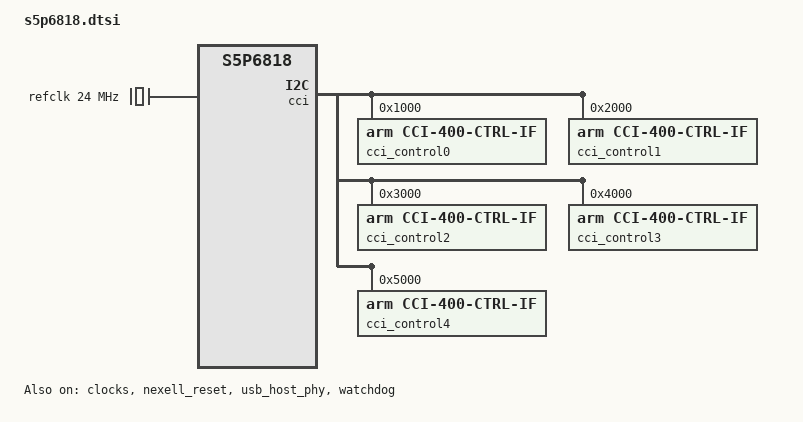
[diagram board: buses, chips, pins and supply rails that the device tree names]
// SPDX-License-Identifier: GPL-2.0-only

#include <dt-bindings/interrupt-controller/arm-gic.h>
#include <dt-bindings/interrupt-controller/irq.h>
#include <dt-bindings/gpio/gpio.h>
#include <dt-bindings/clock/nexell,s5p6818-clock.h>
#include <dt-bindings/reset/nexell,s5p6818-reset.h>

/ {
	#address-cells = <2>;
	#size-cells = <2>;
	compatible = "nexell,s5p6818";

	refclk: oscillator {
		compatible = "fixed-clock";
		#clock-cells = <0>;
		clock-frequency = <24000000>;
		clock-output-names = "xin";
	};

	cpus {
		#address-cells = <2>;
		#size-cells = <0>;

		cpu0: cpu@0 {
			compatible = "arm,cortex-a53";
			device_type = "cpu";
			reg = <0x0 0x0>;
			enable-method = "psci";
			cci-control-port = <&cci_control4>;
		};

		cpu1: cpu@1 {
			compatible = "arm,cortex-a53";
			device_type = "cpu";
			reg = <0x0 0x1>;
			cci-control-port = <&cci_control4>;
			enable-method = "psci";
		};

		cpu2: cpu@2 {
			compatible = "arm,cortex-a53";
			device_type = "cpu";
			reg = <0x0 0x2>;
			cci-control-port = <&cci_control4>;
			enable-method = "psci";
		};

		cpu3: cpu@3 {
			compatible = "arm,cortex-a53";
			device_type = "cpu";
			reg = <0x0 0x3>;
			cci-control-port = <&cci_control4>;
			enable-method = "psci";
		};

		cpu4: cpu@100 {
			compatible = "arm,cortex-a53";
			device_type = "cpu";
			reg = <0x0 0x100>;
			cci-control-port = <&cci_control3>;
			enable-method = "psci";
		};

		cpu5: cpu@101 {
			compatible = "arm,cortex-a53";
			device_type = "cpu";
			reg = <0x0 0x101>;
			cci-control-port = <&cci_control3>;
			enable-method = "psci";
		};

		cpu6: cpu@102 {
			compatible = "arm,cortex-a53";
			device_type = "cpu";
			reg = <0x0 0x102>;
			cci-control-port = <&cci_control3>;
			enable-method = "psci";
		};

		cpu7: cpu@103 {
			compatible = "arm,cortex-a53";
			device_type = "cpu";
			reg = <0x0 0x103>;
			cci-control-port = <&cci_control3>;
			enable-method = "psci";
		};
	};

	psci {
		compatible = "arm,psci-0.2";
		method = "smc";
	};

	arch_timer: timer {
		compatible = "arm,armv8-timer";
		interrupt-parent = <&gic>;
		interrupts = <GIC_PPI 13 (GIC_CPU_MASK_SIMPLE(8) | IRQ_TYPE_LEVEL_LOW)>,
			     <GIC_PPI 14 (GIC_CPU_MASK_SIMPLE(8) | IRQ_TYPE_LEVEL_LOW)>,
			     <GIC_PPI 11 (GIC_CPU_MASK_SIMPLE(8) | IRQ_TYPE_LEVEL_LOW)>,
			     <GIC_PPI 10 (GIC_CPU_MASK_SIMPLE(8) | IRQ_TYPE_LEVEL_LOW)>;
	};

	gic: interrupt-controller@c0009000 {
		compatible = "arm,gic-400";
		interrupt-controller;
		#interrupt-cells = <3>;
		reg = <0x0 0xc0009000 0x0 0x1000>,
		      <0x0 0xc000a000 0x0 0x1000>;
	};

	cci: cci@e0090000 {
		compatible = "arm,cci-400";
		#address-cells = <1>;
		#size-cells = <1>;
		reg = <0x0 0xe0090000 0x0 0x6000>;
		ranges = <0x0 0x0 0xe0090000 0x6000>;

		cci_control0: slave-if@1000 {
			compatible = "arm,cci-400-ctrl-if";
			interface-type = "ace-lite";
			reg = <0x1000 0x1000>;
		};
		cci_control1: slave-if@2000 {
			compatible = "arm,cci-400-ctrl-if";
			interface-type = "ace-lite";
			reg = <0x2000 0x1000>;
		};
		cci_control2: slave-if@3000 {
			compatible = "arm,cci-400-ctrl-if";
			interface-type = "ace-lite";
			reg = <0x3000 0x1000>;
		};
		cci_control3: slave-if@4000 {
			compatible = "arm,cci-400-ctrl-if";
			interface-type = "ace";
			reg = <0x4000 0x1000>;
		};
		cci_control4: slave-if@5000 {
			compatible = "arm,cci-400-ctrl-if";
			interface-type = "ace";
			reg = <0x5000 0x1000>;
		};
	};

	timer: timer@c0017000 {
		compatible = "nexell,s5p6818-timer";
		reg = <0x0 0xc0017000 0x0 0x1000>;
		interrupt-parent = <&gic>;
		interrupts = <GIC_SPI 24 IRQ_TYPE_LEVEL_HIGH>;
		clocks = <&clocks NEXELL_CLK_TIMER0>;
		clock-names = "timer";
		resets = <&nexell_reset RESET_ID_TIMER>;
		reset-names = "timer";
		/* PCLK is 200 MHz; the timer prescaler produces a 10 MHz tick. */
		nexell,pclk-frequency = <200000000>;
		clock-frequency = <10000000>;
		status = "disabled";
	};

	soc@0 {
		compatible = "simple-bus";
		#address-cells = <1>;
		#size-cells = <1>;
		interrupt-parent = <&gic>;
		ranges = <0x0 0x0 0x0 0xffffffff>;

		pinctrl: pinctrl@c001a000 {
			compatible = "nexell,s5p6818-pinctrl";
			reg = <0xc001a000 0x1000>,
			      <0xc001b000 0x1000>,
			      <0xc001c000 0x1000>,
			      <0xc001d000 0x1000>,
			      <0xc001e000 0x1000>,
			      <0xc0010800 0x0200>;
			#pinctrl-cells = <0>;

			gpioa: gpioa {
				gpio-controller;
				#gpio-cells = <2>;
			};
			gpiob: gpiob {
				gpio-controller;
				#gpio-cells = <2>;
			};
			gpioc: gpioc {
				gpio-controller;
				#gpio-cells = <2>;
			};
			gpiod: gpiod {
				gpio-controller;
				#gpio-cells = <2>;
			};
			gpioe: gpioe {
				gpio-controller;
				#gpio-cells = <2>;
			};
			alive: alive {
				gpio-controller;
				#gpio-cells = <2>;
			};

			uart0_pins: uart0-pins {
				nexell,pins = "gpiod-14", "gpiod-18";
				nexell,pin-function = <1>;
				nexell,pin-pull = <2>;
				nexell,pin-strength = <0>;
			};

			sdmmc2_clk_pins: sdmmc2-clk-pins {
				nexell,pins = "gpioc-18";
				nexell,pin-function = <2>;
				nexell,pin-pull = <2>;
				nexell,pin-strength = <2>;
			};

			sdmmc2_cmd_pins: sdmmc2-cmd-pins {
				nexell,pins = "gpioc-19";
				nexell,pin-function = <2>;
				nexell,pin-pull = <2>;
				nexell,pin-strength = <1>;
			};

			sdmmc2_data_pins: sdmmc2-data-pins {
				nexell,pins = "gpioc-20", "gpioc-21", "gpioc-22", "gpioc-23";
				nexell,pin-function = <2>;
				nexell,pin-pull = <2>;
				nexell,pin-strength = <1>;
			};

			sdmmc0_clk_pins: sdmmc0-clk-pins {
				nexell,pins = "gpioa-29";
				nexell,pin-function = <1>;
				nexell,pin-pull = <2>;
				nexell,pin-strength = <2>;
			};

			sdmmc0_cmd_pins: sdmmc0-cmd-pins {
				nexell,pins = "gpioa-31";
				nexell,pin-function = <1>;
				nexell,pin-pull = <2>;
				nexell,pin-strength = <1>;
			};

			sdmmc0_data_pins: sdmmc0-data-pins {
				nexell,pins = "gpiob-1", "gpiob-3", "gpiob-5", "gpiob-7";
				nexell,pin-function = <1>;
				nexell,pin-pull = <2>;
				nexell,pin-strength = <1>;
			};

			sdmmc1_clk_pins: sdmmc1-clk-pins {
				nexell,pins = "gpiod-22";
				nexell,pin-function = <1>;
				nexell,pin-pull = <2>;
				nexell,pin-strength = <2>;
			};

			sdmmc1_cmd_pins: sdmmc1-cmd-pins {
				nexell,pins = "gpiod-23";
				nexell,pin-function = <1>;
				nexell,pin-pull = <2>;
				nexell,pin-strength = <1>;
			};

			sdmmc1_data_pins: sdmmc1-data-pins {
				nexell,pins = "gpiod-24", "gpiod-25", "gpiod-26", "gpiod-27";
				nexell,pin-function = <1>;
				nexell,pin-pull = <2>;
				nexell,pin-strength = <1>;
			};

			i2c0_sda_pin: i2c0-sda-dft {
				nexell,pins = "gpiod-3";
				nexell,pin-function = <1>;
				nexell,pin-pull = <2>;
				nexell,pin-strength = <0>;
			};

			i2c0_scl_pin: i2c0-scl-dft {
				nexell,pins = "gpiod-2";
				nexell,pin-function = <1>;
				nexell,pin-pull = <2>;
				nexell,pin-strength = <0>;
			};

			i2c0_pin_sda_gpio: i2c0-sda-gpio {
				nexell,pins = "gpiod-3";
				nexell,pin-function = <0>;
				nexell,pin-pull = <2>;
				nexell,pin-strength = <0>;
			};

			i2c0_pin_scl_gpio: i2c0-scl-gpio {
				nexell,pins = "gpiod-2";
				nexell,pin-function = <0>;
				nexell,pin-pull = <2>;
				nexell,pin-strength = <0>;
			};

			i2c1_sda_pin: i2c1-sda-dft {
				nexell,pins = "gpiod-5";
				nexell,pin-function = <1>;
				nexell,pin-pull = <2>;
				nexell,pin-strength = <0>;
			};

			i2c1_scl_pin: i2c1-scl-dft {
				nexell,pins = "gpiod-4";
				nexell,pin-function = <1>;
				nexell,pin-pull = <2>;
				nexell,pin-strength = <0>;
			};

			i2c1_pin_sda_gpio: i2c1-sda-gpio {
				nexell,pins = "gpiod-5";
				nexell,pin-function = <0>;
				nexell,pin-pull = <2>;
				nexell,pin-strength = <0>;
			};

			i2c1_pin_scl_gpio: i2c1-scl-gpio {
				nexell,pins = "gpiod-4";
				nexell,pin-function = <0>;
				nexell,pin-pull = <2>;
				nexell,pin-strength = <0>;
			};

			i2c2_sda_pin: i2c2-sda-dft {
				nexell,pins = "gpiod-7";
				nexell,pin-function = <1>;
				nexell,pin-pull = <2>;
				nexell,pin-strength = <0>;
			};

			i2c2_scl_pin: i2c2-scl-dft {
				nexell,pins = "gpiod-6";
				nexell,pin-function = <1>;
				nexell,pin-pull = <2>;
				nexell,pin-strength = <0>;
			};

			i2c2_pin_sda_gpio: i2c2-sda-gpio {
				nexell,pins = "gpiod-7";
				nexell,pin-function = <0>;
				nexell,pin-pull = <2>;
				nexell,pin-strength = <0>;
			};

			i2c2_pin_scl_gpio: i2c2-scl-gpio {
				nexell,pins = "gpiod-6";
				nexell,pin-function = <0>;
				nexell,pin-pull = <2>;
				nexell,pin-strength = <0>;
			};

			i2c0_pins: i2c0-pins {
				nexell,pins = "gpiod-2", "gpiod-3";
				nexell,pin-function = <1>;
				nexell,pin-pull = <2>;
				nexell,pin-strength = <0>;
			};

			i2c1_pins: i2c1-pins {
				nexell,pins = "gpiod-4", "gpiod-5";
				nexell,pin-function = <1>;
				nexell,pin-pull = <2>;
				nexell,pin-strength = <0>;
			};

			i2c2_pins: i2c2-pins {
				nexell,pins = "gpiod-6", "gpiod-7";
				nexell,pin-function = <1>;
				nexell,pin-pull = <2>;
				nexell,pin-strength = <0>;
			};

			key_pins: key-pins {
				nexell,pins = "gpiob-30", "gpiob-31", "gpiob-9", "gpioa-28";
				nexell,pin-function = <0>;
				nexell,pin-pull = <1>;
				nexell,pin-strength = <0>;
			};

			pwm0_pin: pwm0-pin {
				nexell,pins = "gpiod-1";
				nexell,pin-function = <1>;
				nexell,pin-pull = <0>;
				nexell,pin-strength = <0>;
			};

			pwm1_pin: pwm1-pin {
				nexell,pins = "gpioc-13";
				nexell,pin-function = <2>;
				nexell,pin-pull = <0>;
				nexell,pin-strength = <0>;
			};

			pwm2_pin: pwm2-pin {
				nexell,pins = "gpioc-14";
				nexell,pin-function = <2>;
				nexell,pin-pull = <0>;
				nexell,pin-strength = <0>;
			};

			pwm3_pin: pwm3-pin {
				nexell,pins = "gpiod-0";
				nexell,pin-function = <2>;
				nexell,pin-pull = <0>;
				nexell,pin-strength = <0>;
			};
		};

		clocks: clock-controller@c0010000 {
			compatible = "nexell,s5p6818-clk";
			reg = <0xc0010000 0x400>,
			      <0xc00a9000 0x1000>, <0xc00b9000 0x1000>,
			      <0xc00bb000 0x1000>, <0xc00c5000 0x1000>,
			      <0xc00cc000 0x1000>, <0xc00cd000 0x1000>,
			      <0xc00c8000 0x1000>, <0xc006b000 0x1000>,
			      <0xc00ca000 0x1000>, <0xc00ae000 0x1000>,
			      <0xc00af000 0x1000>, <0xc00b0000 0x1000>;
			reg-names = "clkpwr", "uart0", "timer0", "timer1",
				    "sdmmc0", "sdmmc1", "sdmmc2", "gmac",
				    "usbhost", "mipi", "i2c0", "i2c1", "i2c2";
			clocks = <&refclk>;
			clock-names = "xin";
			#clock-cells = <1>;
			status = "okay";
		};

		nexell_reset: reset-controller@c0012000 {
			compatible = "nexell,s5p6818-reset";
			#reset-cells = <1>;
			reg = <0xc0012000 0x0c>;
			status = "okay";
		};

		usb_host_phy: usb-host-phy@c0011000 {
			compatible = "nexell,s5p6818-usb-host-phy";
			reg = <0xc0011000 0x100>;
			clocks = <&clocks NEXELL_CLK_USBHOST>,
				 <&clocks NEXELL_CLK_USBHOST_REF>;
			clock-names = "usbhost", "usbhost-ref";
			resets = <&nexell_reset RESET_ID_USB20HOST>;
			reset-names = "host";
			#phy-cells = <1>;
			status = "okay";
		};

		ehci: usb@c0030000 {
			compatible = "nexell,s5p6818-ehci";
			reg = <0xc0030000 0x1000>;
			interrupts = <GIC_SPI 50 IRQ_TYPE_LEVEL_HIGH>;
			phys = <&usb_host_phy 0>;
			phy-names = "usb2-phy";
			companion = <&ohci>;
			status = "disabled";
		};

		ohci: usb@c0020000 {
			compatible = "nexell,s5p6818-ohci";
			reg = <0xc0020000 0x1000>;
			interrupts = <GIC_SPI 50 IRQ_TYPE_LEVEL_HIGH>;
			phys = <&usb_host_phy 1>;
			phy-names = "usb2-phy";
			status = "disabled";
		};

		display: display@c0101000 {
			compatible = "nexell,s5p6818-display";
			reg = <0xc0101000 0x100>,
			      <0xc0102000 0x400>,
			      <0xc0102800 0x400>,
			      <0xc0105000 0x100>,
			      <0xc00d0000 0x1000>,
			      <0xc0011000 0x100>;
			reg-names = "top", "mlc", "dpc", "clkgen", "mipi", "tieoff";
			resets = <&nexell_reset RESET_ID_DISP_TOP>,
				 <&nexell_reset RESET_ID_DISPLAY>,
				 <&nexell_reset RESET_ID_MIPI>,
				 <&nexell_reset RESET_ID_MIPI_DSI>,
				 <&nexell_reset RESET_ID_MIPI_CSI>,
				 <&nexell_reset RESET_ID_MIPI_PHY_S>,
				 <&nexell_reset RESET_ID_MIPI_PHY_M>;
			reset-names = "disp-top", "display", "mipi", "mipi-dsi",
				      "mipi-csi", "mipi-phy-s", "mipi-phy-m";
			status = "disabled";
		};

		gmac: ethernet@c0060000 {
			compatible = "nexell,s5p6818-dwmac";
			reg = <0xc0060000 0x2000>;
			interrupts = <GIC_SPI 48 IRQ_TYPE_LEVEL_HIGH>;
			interrupt-names = "macirq";
			clocks = <&clocks NEXELL_CLK_GMAC>,
				 <&clocks NEXELL_CLK_GMAC_TX>;
			clock-names = "stmmaceth", "pclk";
			nexell,clock-controller = <&clocks>;
			resets = <&nexell_reset RESET_ID_DWC_GMAC>;
			reset-names = "stmmaceth";
			snps,clk-csr = <4>;
			snps,pbl = <16>;
			snps,no-pbl-x8;
			snps,multicast-filter-bins = <256>;
			status = "disabled";
		};

		mmc0: mmc@c0062000 {
			compatible = "nexell,s5p6818-dw-mshc";
			reg = <0xc0062000 0x1000>;
			interrupts = <GIC_SPI 43 IRQ_TYPE_LEVEL_HIGH>;
			clocks = <&clocks NEXELL_CLK_SDMMC0>,
				 <&clocks NEXELL_CLK_SDMMC0>;
			clock-names = "biu", "ciu";
			resets = <&nexell_reset RESET_ID_SDMMC0>;
			reset-names = "reset";
			pinctrl-names = "default";
			pinctrl-0 = <&sdmmc0_clk_pins &sdmmc0_cmd_pins
				     &sdmmc0_data_pins>;
			bus-width = <4>;
			fifo-depth = <32>;
			clock-frequency = <100000000>;
			max-frequency = <50000000>;
			nexell,drive-delay = <0>;
			nexell,drive-shift = <2>;
			nexell,sample-delay = <0x1c>;
			nexell,sample-shift = <1>;
			status = "disabled";
		};

		mmc1: mmc@c0068000 {
			compatible = "nexell,s5p6818-dw-mshc";
			reg = <0xc0068000 0x1000>;
			interrupts = <GIC_SPI 44 IRQ_TYPE_LEVEL_HIGH>;
			clocks = <&clocks NEXELL_CLK_SDMMC1>,
				 <&clocks NEXELL_CLK_SDMMC1>;
			clock-names = "biu", "ciu";
			resets = <&nexell_reset RESET_ID_SDMMC1>;
			reset-names = "reset";
			pinctrl-names = "default";
			pinctrl-0 = <&sdmmc1_clk_pins &sdmmc1_cmd_pins
				     &sdmmc1_data_pins>;
			bus-width = <4>;
			fifo-depth = <32>;
			clock-frequency = <100000000>;
			max-frequency = <50000000>;
			nexell,drive-delay = <0>;
			nexell,drive-shift = <2>;
			nexell,sample-delay = <0x1c>;
			nexell,sample-shift = <1>;
			status = "disabled";
		};

		mmc2: mmc@c0069000 {
			compatible = "nexell,s5p6818-dw-mshc";
			reg = <0xc0069000 0x1000>;
			interrupts = <GIC_SPI 45 IRQ_TYPE_LEVEL_HIGH>;
			clocks = <&clocks NEXELL_CLK_SDMMC2>,
				 <&clocks NEXELL_CLK_SDMMC2>;
			clock-names = "biu", "ciu";
			resets = <&nexell_reset RESET_ID_SDMMC2>;
			reset-names = "reset";
			pinctrl-names = "default";
			pinctrl-0 = <&sdmmc2_clk_pins &sdmmc2_cmd_pins
				     &sdmmc2_data_pins>;
			bus-width = <4>;
			fifo-depth = <32>;
			clock-frequency = <100000000>;
			max-frequency = <50000000>;
			nexell,drive-delay = <0>;
			nexell,drive-shift = <2>;
			nexell,sample-delay = <0x1c>;
			nexell,sample-shift = <1>;
			nexell,mmc-boost = <0>;
			non-removable;
			status = "disabled";
		};

		pwm: pwm@c0018000 {
			compatible = "nexell,s5p6818-pwm", "samsung,s5pc100-pwm";
			reg = <0xc0018000 0x1000>;
			resets = <&nexell_reset RESET_ID_PWM>;
			reset-names = "pwm-reset";
			clocks = <&clocks NEXELL_CLK_TIMER0>;
			clock-names = "timers";
			pinctrl-names = "default";
			pinctrl-0 = <&pwm0_pin &pwm1_pin &pwm2_pin &pwm3_pin>;
			#pwm-cells = <3>;
			samsung,pwm-outputs = <0>, <1>, <2>, <3>;
			status = "disabled";
		};

		i2c0: i2c@c00a4000 {
			compatible = "nexell,s5p6818-i2c", "nexell,s5p4418-i2c";
			reg = <0xc00a4000 0x1000>;
			interrupts = <GIC_SPI 15 IRQ_TYPE_LEVEL_HIGH>;
			clocks = <&clocks NEXELL_CLK_I2C0>;
			clock-names = "i2c";
			resets = <&nexell_reset RESET_ID_I2C0>;
			reset-names = "i2c-reset";
			gpios = <&gpiod 3 GPIO_ACTIVE_HIGH>,
				<&gpiod 2 GPIO_ACTIVE_HIGH>;
			pinctrl-names = "default";
			pinctrl-0 = <&i2c0_pins>;
			#address-cells = <1>;
			#size-cells = <0>;
			status = "disabled";
		};

		i2c1: i2c@c00a5000 {
			compatible = "nexell,s5p6818-i2c", "nexell,s5p4418-i2c";
			reg = <0xc00a5000 0x1000>;
			interrupts = <GIC_SPI 16 IRQ_TYPE_LEVEL_HIGH>;
			clocks = <&clocks NEXELL_CLK_I2C1>;
			clock-names = "i2c";
			resets = <&nexell_reset RESET_ID_I2C1>;
			reset-names = "i2c-reset";
			gpios = <&gpiod 5 GPIO_ACTIVE_HIGH>,
				<&gpiod 4 GPIO_ACTIVE_HIGH>;
			pinctrl-names = "default";
			pinctrl-0 = <&i2c1_pins>;
			#address-cells = <1>;
			#size-cells = <0>;
			status = "disabled";
		};

		i2c2: i2c@c00a6000 {
			compatible = "nexell,s5p6818-i2c", "nexell,s5p4418-i2c";
			reg = <0xc00a6000 0x1000>;
			interrupts = <GIC_SPI 17 IRQ_TYPE_LEVEL_HIGH>;
			clocks = <&clocks NEXELL_CLK_I2C2>;
			clock-names = "i2c";
			resets = <&nexell_reset RESET_ID_I2C2>;
			reset-names = "i2c-reset";
			gpios = <&gpiod 7 GPIO_ACTIVE_HIGH>,
				<&gpiod 6 GPIO_ACTIVE_HIGH>;
			pinctrl-names = "default";
			pinctrl-0 = <&i2c2_pins>;
			#address-cells = <1>;
			#size-cells = <0>;
			status = "disabled";
		};

		watchdog: watchdog@c0019000 {
			compatible = "nexell,s5p6818-wdt";
			reg = <0xc0019000 0x1000>;
			resets = <&nexell_reset RESET_ID_WDT_POR>,
				 <&nexell_reset RESET_ID_WDT>;
			reset-names = "wdt-por", "wdt";
			/*
			 * The S5P6818 watchdog is clocked from the 200 MHz bus
			 * PCLK, not from a dedicated 4 MHz oscillator.  Verified
			 * empirically: timeouts programmed for 5 s, 20 s and
			 * 60 s (under a 4 MHz assumption) expired after 0.1 s,
			 * 2.5 s and 10 s — exactly a factor of 50.
			 */
			nexell,wdt-frequency = <200000000>;
			status = "okay";
		};

		uart0: serial@c00a1000 {
			compatible = "nexell,s5p6818-uart";
			reg = <0xc00a1000 0x1000>;
			interrupts = <GIC_SPI 7 IRQ_TYPE_LEVEL_HIGH>;
			clocks = <&clocks NEXELL_CLK_UART0>,
				 <&clocks NEXELL_CLK_UART0>;
			clock-names = "uart", "clk_uart_baud0";
			resets = <&nexell_reset RESET_ID_UART0>;
			reset-names = "uart-reset";
			status = "disabled";
		};
	};
};
